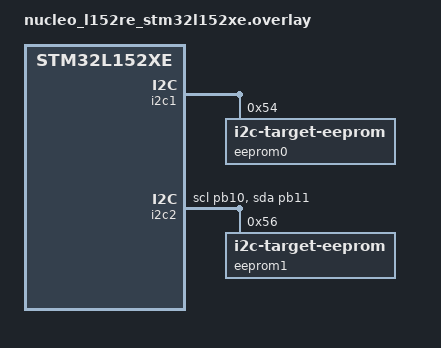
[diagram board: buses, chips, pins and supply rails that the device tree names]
/* SPDX-License-Identifier: Apache-2.0 */

/* I2C bus pins are exposed on the ST morpho header.
 *
 *  Bus        SDA               SCL
 *          Pin   Hdr         Pin   Hdr
 *  i2c1    PB9   CN10:5      PB8   CN10:3
 *  i2c2    PB11  CN10:18     PB10  CN10:25
 *
 * Short Pin PB9 to PB11, and PB8 to PB10, for the test to pass.
 */

&i2c1 {
	eeprom0: eeprom@54 {
		compatible = "zephyr,i2c-target-eeprom";
		reg = <0x54>;
		size = <1024>;
	};
};


&i2c2 {
	pinctrl-0 = <&i2c2_scl_pb10 &i2c2_sda_pb11>;
	pinctrl-names = "default";
	status = "okay";
	eeprom1: eeprom@56 {
		compatible = "zephyr,i2c-target-eeprom";
		reg = <0x56>;
		size = <1024>;
	};
};
